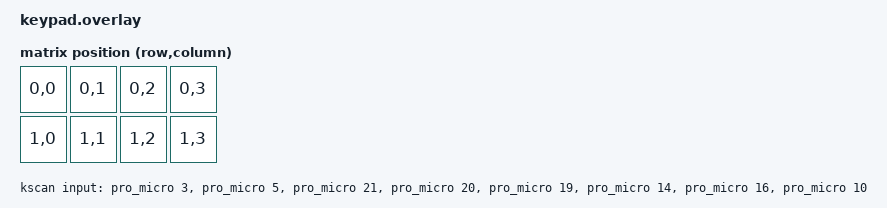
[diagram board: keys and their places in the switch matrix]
#include <physical_layouts.dtsi>
#include <dt-bindings/zmk/matrix_transform.h>

/ {
    chosen {
        zmk,physical-layout = &layout;
    };

    kscan: kscan {
        compatible = "zmk,kscan-gpio-direct";
        label = "kscan";

        input-gpios =   <&pro_micro 3 (GPIO_ACTIVE_LOW | GPIO_PULL_UP)>,
                        <&pro_micro 5 (GPIO_ACTIVE_LOW | GPIO_PULL_UP)>,
                        <&pro_micro 21 (GPIO_ACTIVE_LOW | GPIO_PULL_UP)>,
                        <&pro_micro 20 (GPIO_ACTIVE_LOW | GPIO_PULL_UP)>,
                        <&pro_micro 19 (GPIO_ACTIVE_LOW | GPIO_PULL_UP)>,
                        <&pro_micro 14 (GPIO_ACTIVE_LOW | GPIO_PULL_UP)>,
                        <&pro_micro 16 (GPIO_ACTIVE_LOW | GPIO_PULL_UP)>,
                        <&pro_micro 10 (GPIO_ACTIVE_LOW | GPIO_PULL_UP)>;

    };

    transform: matrix_transform {
        compatible = "zmk,matrix-transform";
        rows = <2>;
        columns = <4>;

        map = <
                RC(0, 0) RC(0, 1) RC(0, 2) RC(0, 3) 
                RC(1, 0) RC(1, 1) RC(1, 2) RC(1, 3)
        >;
    };

    layout: layout {
        compatible = "zmk,physical-layout";
        display-name = "Default layout";
        transform = <&transform>;
        kscan = <&kscan>;

        keys //                      w   h   x   y rot  rx   ry
            = <&key_physical_attrs 100 100   0   0   0   0   0>
            , <&key_physical_attrs 100 100 100   0   0   0   0>
            , <&key_physical_attrs 100 100 200   0   0   0   0>
            , <&key_physical_attrs 100 100 300   0   0   0   0>
            , <&key_physical_attrs 100 100   0 100   0   0   0>
            , <&key_physical_attrs 100 100 100 100   0   0   0>
            , <&key_physical_attrs 100 100 200 100   0   0   0>
            , <&key_physical_attrs 100 100 300 100   0   0   0>
            ;
    
    };


};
